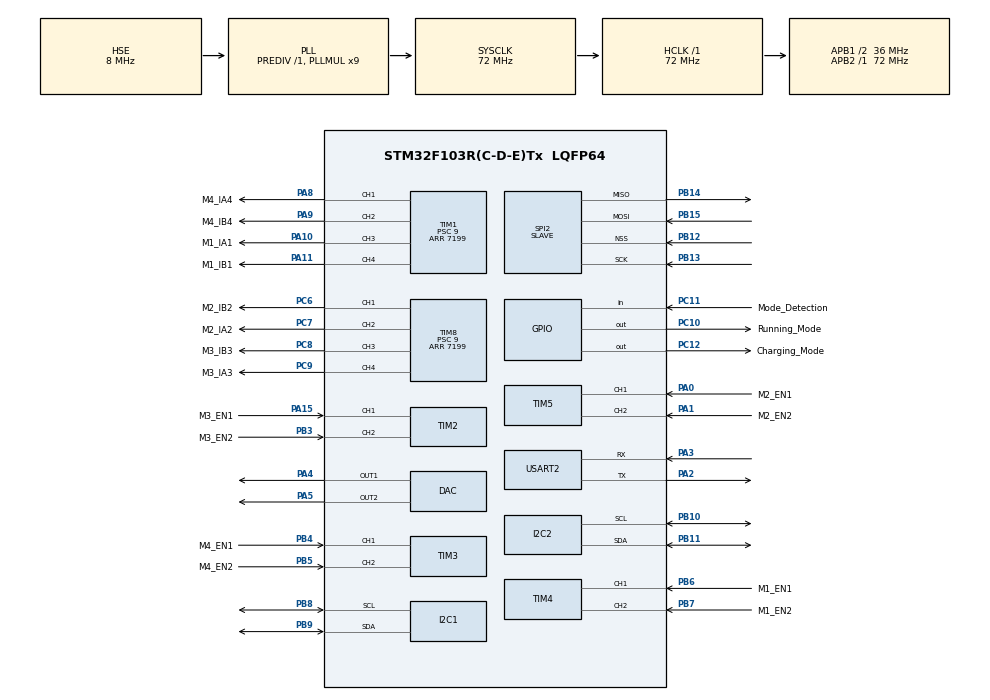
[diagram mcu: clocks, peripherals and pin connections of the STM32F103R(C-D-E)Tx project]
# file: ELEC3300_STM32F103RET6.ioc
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Dma.Request0=USART2_RX
Dma.Request1=USART2_TX
Dma.USART2_RX.0.Direction=DMA_PERIPH_TO_MEMORY
Dma.USART2_RX.0.Instance=DMA1_Channel6
Dma.USART2_RX.0.MemDataAlignment=DMA_MDATAALIGN_BYTE
Dma.USART2_RX.0.MemInc=DMA_MINC_ENABLE
Dma.USART2_RX.0.Mode=DMA_NORMAL
Dma.USART2_RX.0.PeriphDataAlignment=DMA_PDATAALIGN_BYTE
Dma.USART2_RX.0.PeriphInc=DMA_PINC_DISABLE
Dma.USART2_RX.0.Priority=DMA_PRIORITY_VERY_HIGH
Dma.USART2_TX.1.Direction=DMA_MEMORY_TO_PERIPH
Dma.USART2_TX.1.Instance=DMA1_Channel7
Dma.USART2_TX.1.MemDataAlignment=DMA_MDATAALIGN_BYTE
Dma.USART2_TX.1.MemInc=DMA_MINC_ENABLE
Dma.USART2_TX.1.Mode=DMA_NORMAL
Dma.USART2_TX.1.PeriphDataAlignment=DMA_PDATAALIGN_BYTE
Dma.USART2_TX.1.PeriphInc=DMA_PINC_DISABLE
Dma.USART2_TX.1.Priority=DMA_PRIORITY_VERY_HIGH
FREERTOS.Queues01=msg_rx_q,10,msg_data_t,0,Dynamic,NULL,NULL
FREERTOS.Tasks01=msg_rx_t,24,128,msg_rx,Default,NULL,Static,msg_rx_tBuffer,msg_rx_tControlBlock;Motor_update_t,24,128,Motor_update,Default,NULL,Dynamic,NULL,NULL
FREERTOS.configTOTAL_HEAP_SIZE=8000
FREERTOS.configUSE_NEWLIB_REENTRANT=1
I2C1.I2C_Mode=I2C_Fast
I2C2.I2C_Mode=I2C_Fast
Mcu.Family=STM32F1
Mcu.Name=STM32F103R(C-D-E)Tx
Mcu.Package=LQFP64
NVIC.DMA1_Channel6_IRQn=true\:5\:0\:false\:false\:true\:true\:false\:true\:true
NVIC.DMA1_Channel7_IRQn=true\:5\:0\:false\:false\:true\:true\:false\:true\:true
NVIC.PriorityGroup=NVIC_PRIORITYGROUP_4
NVIC.TIM6_IRQn=true\:15\:0\:false\:false\:true\:false\:false\:true\:true
NVIC.TimeBase=TIM6_IRQn
NVIC.TimeBaseIP=TIM6
NVIC.USART2_IRQn=true\:6\:0\:true\:false\:true\:true\:true\:true\:true
PA0-WKUP.GPIO_Label=M2_EN1
PA0-WKUP.GPIO_PuPd=GPIO_PULLUP
PA0-WKUP.Signal=S_TIM5_CH1
PA1.GPIO_Label=M2_EN2
PA1.GPIO_PuPd=GPIO_PULLUP
PA1.Signal=S_TIM5_CH2
PA10.GPIO_Label=M1_IA1
PA10.GPIO_Speed=GPIO_SPEED_FREQ_HIGH
PA10.Signal=S_TIM1_CH3
PA11.GPIO_Label=M1_IB1
PA11.GPIO_Speed=GPIO_SPEED_FREQ_HIGH
PA11.Signal=S_TIM1_CH4
PA13.Mode=Serial_Wire
PA13.Signal=SYS_JTMS-SWDIO
PA14.Mode=Serial_Wire
PA14.Signal=SYS_JTCK-SWCLK
PA15.GPIO_Label=M3_EN1
PA15.GPIO_PuPd=GPIO_PULLUP
PA15.Signal=S_TIM2_CH1_ETR
PA2.Mode=Asynchronous
PA2.Signal=USART2_TX
PA3.Mode=Asynchronous
PA3.Signal=USART2_RX
PA4.Signal=COMP_DAC1_group
PA5.Signal=COMP_DAC2_group
PA8.GPIO_Label=M4_IA4
PA8.GPIO_Speed=GPIO_SPEED_FREQ_HIGH
PA8.Signal=S_TIM1_CH1
PA9.GPIO_Label=M4_IB4
PA9.GPIO_Speed=GPIO_SPEED_FREQ_HIGH
PA9.Signal=S_TIM1_CH2
PB10.Mode=I2C
PB10.Signal=I2C2_SCL
PB11.Mode=I2C
PB11.Signal=I2C2_SDA
PB12.Mode=NSS_Signal_Hard_Input
PB12.Signal=SPI2_NSS
PB13.Mode=Full_Duplex_Slave
PB13.Signal=SPI2_SCK
PB14.Mode=Full_Duplex_Slave
PB14.Signal=SPI2_MISO
PB15.Mode=Full_Duplex_Slave
PB15.Signal=SPI2_MOSI
PB3.GPIO_Label=M3_EN2
PB3.GPIO_PuPd=GPIO_PULLUP
PB3.Signal=S_TIM2_CH2
PB4.GPIO_Label=M4_EN1
PB4.GPIO_PuPd=GPIO_PULLUP
PB4.Signal=S_TIM3_CH1
PB5.GPIO_Label=M4_EN2
PB5.GPIO_PuPd=GPIO_PULLUP
PB5.Signal=S_TIM3_CH2
PB6.GPIO_Label=M1_EN1
PB6.GPIO_PuPd=GPIO_PULLUP
PB6.Signal=S_TIM4_CH1
PB7.GPIO_Label=M1_EN2
PB7.GPIO_PuPd=GPIO_PULLUP
PB7.Signal=S_TIM4_CH2
PB8.Mode=I2C
PB8.Signal=I2C1_SCL
PB9.Mode=I2C
PB9.Signal=I2C1_SDA
PC10.GPIO_Label=Running_Mode
PC10.GPIO_ModeDefaultOutputPP=GPIO_MODE_OUTPUT_PP
PC10.GPIO_PuPd=GPIO_PULLDOWN
PC10.PinState=GPIO_PIN_RESET
PC10.Signal=GPIO_Output
PC11.GPIO_Label=Mode_Detection
PC11.Signal=GPIO_Input
PC12.GPIO_Label=Charging_Mode
PC12.GPIO_PuPd=GPIO_PULLUP
PC12.PinState=GPIO_PIN_SET
PC12.Signal=GPIO_Output
PC6.GPIO_Label=M2_IB2
PC6.GPIO_Speed=GPIO_SPEED_FREQ_HIGH
PC6.Signal=S_TIM8_CH1
PC7.GPIO_Label=M2_IA2
PC7.GPIO_Speed=GPIO_SPEED_FREQ_HIGH
PC7.Signal=S_TIM8_CH2
PC8.GPIO_Label=M3_IB3
PC8.GPIO_Speed=GPIO_SPEED_FREQ_HIGH
PC8.Signal=S_TIM8_CH3
PC9.GPIO_Label=M3_IA3
PC9.GPIO_Speed=GPIO_SPEED_FREQ_HIGH
PC9.Signal=S_TIM8_CH4
PD0-OSC_IN.Mode=HSE-External-Oscillator
PD0-OSC_IN.Signal=RCC_OSC_IN
PD1-OSC_OUT.Mode=HSE-External-Oscillator
PD1-OSC_OUT.Signal=RCC_OSC_OUT
ProjectManager.HeapSize=0xFFF
ProjectManager.StackSize=0xFFF
ProjectManager.TargetToolchain=STM32CubeIDE
RCC.AHBFreq_Value=72000000
RCC.APB1CLKDivider=RCC_HCLK_DIV2
RCC.APB1Freq_Value=36000000
RCC.APB1TimFreq_Value=72000000
RCC.APB2Freq_Value=72000000
RCC.APB2TimFreq_Value=72000000
RCC.HCLKFreq_Value=72000000
RCC.PLLMUL=RCC_PLL_MUL9
RCC.PLLSourceVirtual=RCC_PLLSOURCE_HSE
RCC.SYSCLKFreq_VALUE=72000000
RCC.SYSCLKSource=RCC_SYSCLKSOURCE_PLLCLK
RCC.USBFreq_Value=72000000
SH.COMP_DAC1_group.0=DAC_OUT1,DAC_OUT1
SH.COMP_DAC2_group.0=DAC_OUT2,DAC_OUT2
SH.S_TIM1_CH1.0=TIM1_CH1,PWM Generation1 CH1
SH.S_TIM1_CH2.0=TIM1_CH2,PWM Generation2 CH2
SH.S_TIM1_CH3.0=TIM1_CH3,PWM Generation3 CH3
SH.S_TIM1_CH4.0=TIM1_CH4,PWM Generation4 CH4
SH.S_TIM2_CH1_ETR.0=TIM2_CH1,Encoder_Interface
SH.S_TIM2_CH2.0=TIM2_CH2,Encoder_Interface
SH.S_TIM3_CH1.0=TIM3_CH1,Encoder_Interface
SH.S_TIM3_CH2.0=TIM3_CH2,Encoder_Interface
SH.S_TIM4_CH1.0=TIM4_CH1,Encoder_Interface
SH.S_TIM4_CH2.0=TIM4_CH2,Encoder_Interface
SH.S_TIM5_CH1.0=TIM5_CH1,Encoder_Interface
SH.S_TIM5_CH2.0=TIM5_CH2,Encoder_Interface
SH.S_TIM8_CH1.0=TIM8_CH1,PWM Generation1 CH1
SH.S_TIM8_CH2.0=TIM8_CH2,PWM Generation2 CH2
SH.S_TIM8_CH3.0=TIM8_CH3,PWM Generation3 CH3
SH.S_TIM8_CH4.0=TIM8_CH4,PWM Generation4 CH4
SPI2.Direction=SPI_DIRECTION_2LINES
SPI2.Mode=SPI_MODE_SLAVE
SPI2.VirtualNSS=VM_NSSHARD
SPI2.VirtualType=VM_SLAVE
TIM1.Channel-PWM\ Generation1\ CH1=TIM_CHANNEL_1
TIM1.Channel-PWM\ Generation2\ CH2=TIM_CHANNEL_2
TIM1.Channel-PWM\ Generation3\ CH3=TIM_CHANNEL_3
TIM1.Channel-PWM\ Generation4\ CH4=TIM_CHANNEL_4
TIM1.OCFastMode_PWM-PWM\ Generation1\ CH1=TIM_OCFAST_ENABLE
TIM1.OCFastMode_PWM-PWM\ Generation2\ CH2=TIM_OCFAST_ENABLE
TIM1.OCFastMode_PWM-PWM\ Generation3\ CH3=TIM_OCFAST_ENABLE
TIM1.OCFastMode_PWM-PWM\ Generation4\ CH4=TIM_OCFAST_ENABLE
TIM1.Period=7199
TIM1.Prescaler=9
TIM1.Pulse-PWM\ Generation1\ CH1=0
TIM1.Pulse-PWM\ Generation2\ CH2=0
TIM1.Pulse-PWM\ Generation3\ CH3=0
TIM1.Pulse-PWM\ Generation4\ CH4=0
TIM2.EncoderMode=TIM_ENCODERMODE_TI12
TIM3.EncoderMode=TIM_ENCODERMODE_TI12
TIM4.EncoderMode=TIM_ENCODERMODE_TI12
TIM5.EncoderMode=TIM_ENCODERMODE_TI12
TIM8.Channel-PWM\ Generation1\ CH1=TIM_CHANNEL_1
TIM8.Channel-PWM\ Generation2\ CH2=TIM_CHANNEL_2
TIM8.Channel-PWM\ Generation3\ CH3=TIM_CHANNEL_3
TIM8.Channel-PWM\ Generation4\ CH4=TIM_CHANNEL_4
TIM8.OCFastMode_PWM-PWM\ Generation1\ CH1=TIM_OCFAST_ENABLE
TIM8.OCFastMode_PWM-PWM\ Generation2\ CH2=TIM_OCFAST_ENABLE
TIM8.OCFastMode_PWM-PWM\ Generation3\ CH3=TIM_OCFAST_ENABLE
TIM8.OCFastMode_PWM-PWM\ Generation4\ CH4=TIM_OCFAST_ENABLE
TIM8.Period=7199
TIM8.Prescaler=9
USART2.VirtualMode=VM_ASYNC
VP_FREERTOS_VS_CMSIS_V2.Mode=CMSIS_V2
VP_SYS_VS_tim6.Mode=TIM6
VP_TIM1_VS_ClockSourceINT.Mode=Internal
VP_TIM8_VS_ClockSourceINT.Mode=Internal
board=custom

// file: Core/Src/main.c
/* USER CODE BEGIN Header */
/**
  ******************************************************************************
  * @file           : main.c
  * @brief          : Main program body
  ******************************************************************************
  * @attention
  *
  * Copyright (c) 2024 STMicroelectronics.
  * All rights reserved.
  *
  * This software is licensed under terms that can be found in the LICENSE file
  * in the root directory of this software component.
  * If no LICENSE file comes with this software, it is provided AS-IS.
  *
  ******************************************************************************
  */
/* USER CODE END Header */
#include "main.h"
#include "cmsis_os.h"

/* USER CODE BEGIN Includes */
#include <stdio.h>
#include <string.h>
#include <math.h>
#include "stm32f1xx_hal_flash.h"
//Gyro
#include "Gyro.h"
//Motor
#include "Motor.h"
//Encoder
#include "Encoder.h"

/* USER CODE END Includes */

DAC_HandleTypeDef hdac;

I2C_HandleTypeDef hi2c1;
I2C_HandleTypeDef hi2c2;

SPI_HandleTypeDef hspi2;

TIM_HandleTypeDef htim1;
TIM_HandleTypeDef htim2;
TIM_HandleTypeDef htim3;
TIM_HandleTypeDef htim4;
TIM_HandleTypeDef htim5;
TIM_HandleTypeDef htim8;

UART_HandleTypeDef huart2;
DMA_HandleTypeDef hdma_usart2_rx;
DMA_HandleTypeDef hdma_usart2_tx;

/* Definitions for msg_rx_t */
osThreadId_t msg_rx_tHandle;
const osThreadAttr_t msg_rx_t_attributes = {
  .name = "msg_rx_t",
  .stack_size = 512 * 4,
  .priority = (osPriority_t) osPriorityNormal,
};
/* Definitions for Motor_update_t */
osThreadId_t Motor_update_tHandle;
const osThreadAttr_t Motor_update_t_attributes = {
  .name = "Motor_update_t",
  .stack_size = 128 * 4,
  .priority = (osPriority_t) osPriorityNormal,
};
/* Definitions for msg_rx_q */
osMessageQueueId_t msg_rx_qHandle;
const osMessageQueueAttr_t msg_rx_q_attributes = {
  .name = "msg_rx_q"
};
/* USER CODE BEGIN PV */
//Car_ctr&setup_data
#define FLASH_PID_PARAMS_ADDRESS 0x0800ff00
#define RX_BUFFER_SIZE_1 256
uint8_t rxBuffer_1[RX_BUFFER_SIZE_1];
uint8_t rxIndex_1 = 0;
uint8_t rxData_1;
//#define RX_BUFFER_SIZE_2 64
//uint8_t rxBuffer_2[RX_BUFFER_SIZE_2];
//uint8_t rxIndex_2 = 0;
//uint8_t rxData_2;
typedef enum {
    DataType_Control,
    DataType_Weather,
    DataType_PID,
    DataType_Mode_Control,
    DataType_Unknown // Useful for error handling
} DataType;
typedef struct {
    DataType type;
    uint8_t msg_Data[RX_BUFFER_SIZE_1];
    int L; // Left wheel speed
    int R; // Right wheel speed
    int A; // Additional action or mode

    struct {
        float Balance_Kp, Balance_Ki, Balance_Kd; // Balance PID
        float Velocity_Kp, Velocity_Ki, Velocity_Kd; // Velocity PID
<<<<<<< HEAD
        float BalanceShift;
=======
        float Balance_Shift;
>>>>>>> 767b406b14e05d6fadf094114ea391546080ae84
    } PID;

    struct {
        char weather[32]; // Description of the weather
        int temperature; // Temperature
        char date[16]; // Date in YYYY-MM-DD format
        char time[16]; // Time HH:MM format
    } WeatherData;
} msg_data_t;
MotorControl motor_R, motor_L;
float Balance_Kp, Balance_Ki, Balance_Kd;
float Velocity_Kp, Velocity_Ki, Velocity_Kd;
<<<<<<< HEAD
float BalanceShift;
=======
float Balance_Shift;
>>>>>>> 767b406b14e05d6fadf094114ea391546080ae84
#define DEFAULT_BALANCE_KP 263.0f
#define DEFAULT_BALANCE_KI 0.0f
#define DEFAULT_BALANCE_KD 0.4f
#define DEFAULT_VELOCITY_KP 0.6f
#define DEFAULT_VELOCITY_KI 0.0025f
#define DEFAULT_VELOCITY_KD 0.0f
#define DEFAULT_DEFAULT_BAL_SHIFT -1.5f
uint8_t ctr_cmd;
/* USER CODE END PV */

void SystemClock_Config(void);
static void MX_GPIO_Init(void);
static void MX_DMA_Init(void);
static void MX_TIM1_Init(void);
static void MX_TIM2_Init(void);
static void MX_TIM3_Init(void);
static void MX_TIM4_Init(void);
static void MX_TIM8_Init(void);
static void MX_I2C2_Init(void);
static void MX_TIM5_Init(void);
static void MX_USART2_UART_Init(void);
static void MX_DAC_Init(void);
static void MX_I2C1_Init(void);
static void MX_SPI2_Init(void);
void msg_rx(void *argument);
void Motor_update(void *argument);

/* USER CODE BEGIN PFP */
int _write(int file , char *ptr,int len)
{
    int i = 0;
    for(i = 0;i<len;i++)
        ITM_SendChar((*ptr++));
    return len;
}
/* USER CODE END PFP */

/* USER CODE BEGIN 0 */
void Timer_Start(void)
{
// ***** CN2 CN4 *****
	HAL_TIM_PWM_Start(&htim1, TIM_CHANNEL_1);
	HAL_TIM_PWM_Start(&htim1, TIM_CHANNEL_2);
	HAL_TIM_PWM_Start(&htim8, TIM_CHANNEL_1);
	HAL_TIM_PWM_Start(&htim8, TIM_CHANNEL_2);
	HAL_TIM_Encoder_Start(&htim3, TIM_CHANNEL_1);
	HAL_TIM_Encoder_Start(&htim3, TIM_CHANNEL_2);
	HAL_TIM_Encoder_Start(&htim5, TIM_CHANNEL_1);
	HAL_TIM_Encoder_Start(&htim5, TIM_CHANNEL_2);

// ***** CN1 CN3 *****
//	  HAL_TIM_PWM_Start(&htim1, TIM_CHANNEL_3);
//	  HAL_TIM_PWM_Start(&htim1, TIM_CHANNEL_4);
//	  HAL_TIM_PWM_Start(&htim8, TIM_CHANNEL_3);
//	  HAL_TIM_PWM_Start(&htim8, TIM_CHANNEL_4);
//	  HAL_TIM_Encoder_Start(&htim2, TIM_CHANNEL_1);
//	  HAL_TIM_Encoder_Start(&htim2, TIM_CHANNEL_2);
//	  HAL_TIM_Encoder_Start(&htim4, TIM_CHANNEL_1);
//	  HAL_TIM_Encoder_Start(&htim4, TIM_CHANNEL_2);
}
int is_nan(float value) {
    // Check standard isnan
    if (isnan(value)) return 1;

    // Additional check for NaN representation using union
    union {
        float f;
        uint32_t u;
    } converter;

    converter.f = value;
    return (converter.u & 0x7fffffff) > 0x7f800000;
}
/* USER CODE END 0 */

int main(void)
{

  /* MCU Configuration--------------------------------------------------------*/

  /* Reset of all peripherals, Initializes the Flash interface and the Systick. */
  HAL_Init();

  /* Configure the system clock */
  SystemClock_Config();

  /* Initialize all configured peripherals */
  MX_GPIO_Init();
  MX_DMA_Init();
  MX_TIM1_Init();
  MX_TIM2_Init();
  MX_TIM3_Init();
  MX_TIM4_Init();
  MX_TIM8_Init();
  MX_I2C2_Init();
  MX_TIM5_Init();
  MX_USART2_UART_Init();
  MX_DAC_Init();
  MX_I2C1_Init();
  MX_SPI2_Init();
  /* USER CODE BEGIN 2 */
  BSP_MPU6050_Init();
  Timer_Start();
<<<<<<< HEAD
  ReadPIDParamsFromFlash(&Balance_Kp, &Balance_Ki, &Balance_Kd, &Velocity_Kp, &Velocity_Ki, &Velocity_Kd, &BalanceShift);
=======
  ReadPIDParamsFromFlash(&Balance_Kp, &Balance_Ki, &Balance_Kd, &Velocity_Kp, &Velocity_Ki, &Velocity_Kd, &Balance_Shift);
>>>>>>> 767b406b14e05d6fadf094114ea391546080ae84

// ***** CN2 CN4 *****
  initMotorControl(&motor_R, TIM_CHANNEL_1, TIM_CHANNEL_2, GetEncoder_Counter_R);
  initMotorControl(&motor_L, TIM_CHANNEL_1, TIM_CHANNEL_2, GetEncoder_Counter_L);

// ***** CN1 CN3 *****
//  initMotorControl(&motor_R, TIM_CHANNEL_3, TIM_CHANNEL_4, GetEncoder_Counter_R);
//  initMotorControl(&motor_L, TIM_CHANNEL_3, TIM_CHANNEL_4, GetEncoder_Counter_L);
  /* USER CODE END 2 */

  /* Init scheduler */
  osKernelInitialize();

  /* Create the queue(s) */
  /* creation of msg_rx_q */
  msg_rx_qHandle = osMessageQueueNew (10, sizeof(msg_data_t), &msg_rx_q_attributes);

  /* Create the thread(s) */
  /* creation of msg_rx_t */
  msg_rx_tHandle = osThreadNew(msg_rx, NULL, &msg_rx_t_attributes);

  /* creation of Motor_update_t */
  Motor_update_tHandle = osThreadNew(Motor_update, NULL, &Motor_update_t_attributes);

  /* Start scheduler */
  osKernelStart();

  /* We should never get here as control is now taken by the scheduler */

  /* Infinite loop */
  while (1)
  {

  }
}

void SystemClock_Config(void)
{
  RCC_OscInitTypeDef RCC_OscInitStruct = {0};
  RCC_ClkInitTypeDef RCC_ClkInitStruct = {0};

  /** Initializes the RCC Oscillators according to the specified parameters
  * in the RCC_OscInitTypeDef structure.
  */
  RCC_OscInitStruct.OscillatorType = RCC_OSCILLATORTYPE_HSE;
  RCC_OscInitStruct.HSEState = RCC_HSE_ON;
  RCC_OscInitStruct.HSEPredivValue = RCC_HSE_PREDIV_DIV1;
  RCC_OscInitStruct.HSIState = RCC_HSI_ON;
  RCC_OscInitStruct.PLL.PLLState = RCC_PLL_ON;
  RCC_OscInitStruct.PLL.PLLSource = RCC_PLLSOURCE_HSE;
  RCC_OscInitStruct.PLL.PLLMUL = RCC_PLL_MUL9;
  if (HAL_RCC_OscConfig(&RCC_OscInitStruct) != HAL_OK)
  {
    Error_Handler();
  }

  /** Initializes the CPU, AHB and APB buses clocks
  */
  RCC_ClkInitStruct.ClockType = RCC_CLOCKTYPE_HCLK|RCC_CLOCKTYPE_SYSCLK
                              |RCC_CLOCKTYPE_PCLK1|RCC_CLOCKTYPE_PCLK2;
  RCC_ClkInitStruct.SYSCLKSource = RCC_SYSCLKSOURCE_PLLCLK;
  RCC_ClkInitStruct.AHBCLKDivider = RCC_SYSCLK_DIV1;
  RCC_ClkInitStruct.APB1CLKDivider = RCC_HCLK_DIV2;
  RCC_ClkInitStruct.APB2CLKDivider = RCC_HCLK_DIV1;

  if (HAL_RCC_ClockConfig(&RCC_ClkInitStruct, FLASH_LATENCY_2) != HAL_OK)
  {
    Error_Handler();
  }
}

static void MX_DAC_Init(void)
{

  DAC_ChannelConfTypeDef sConfig = {0};

  /** DAC Initialization
  */
  hdac.Instance = DAC;
  if (HAL_DAC_Init(&hdac) != HAL_OK)
  {
    Error_Handler();
  }

  /** DAC channel OUT1 config
  */
  sConfig.DAC_Trigger = DAC_TRIGGER_NONE;
  sConfig.DAC_OutputBuffer = DAC_OUTPUTBUFFER_ENABLE;
  if (HAL_DAC_ConfigChannel(&hdac, &sConfig, DAC_CHANNEL_1) != HAL_OK)
  {
    Error_Handler();
  }

  /** DAC channel OUT2 config
  */
  if (HAL_DAC_ConfigChannel(&hdac, &sConfig, DAC_CHANNEL_2) != HAL_OK)
  {
    Error_Handler();
  }

}

static void MX_I2C1_Init(void)
{

  hi2c1.Instance = I2C1;
  hi2c1.Init.ClockSpeed = 400000;
  hi2c1.Init.DutyCycle = I2C_DUTYCYCLE_2;
  hi2c1.Init.OwnAddress1 = 0;
  hi2c1.Init.AddressingMode = I2C_ADDRESSINGMODE_7BIT;
  hi2c1.Init.DualAddressMode = I2C_DUALADDRESS_DISABLE;
  hi2c1.Init.OwnAddress2 = 0;
  hi2c1.Init.GeneralCallMode = I2C_GENERALCALL_DISABLE;
  hi2c1.Init.NoStretchMode = I2C_NOSTRETCH_DISABLE;
  if (HAL_I2C_Init(&hi2c1) != HAL_OK)
  {
    Error_Handler();
  }

}

static void MX_I2C2_Init(void)
{

  hi2c2.Instance = I2C2;
  hi2c2.Init.ClockSpeed = 400000;
  hi2c2.Init.DutyCycle = I2C_DUTYCYCLE_2;
  hi2c2.Init.OwnAddress1 = 0;
  hi2c2.Init.AddressingMode = I2C_ADDRESSINGMODE_7BIT;
  hi2c2.Init.DualAddressMode = I2C_DUALADDRESS_DISABLE;
  hi2c2.Init.OwnAddress2 = 0;
  hi2c2.Init.GeneralCallMode = I2C_GENERALCALL_DISABLE;
  hi2c2.Init.NoStretchMode = I2C_NOSTRETCH_DISABLE;
  if (HAL_I2C_Init(&hi2c2) != HAL_OK)
  {
    Error_Handler();
  }

}

static void MX_SPI2_Init(void)
{

  /* SPI2 parameter configuration*/
  hspi2.Instance = SPI2;
  hspi2.Init.Mode = SPI_MODE_SLAVE;
  hspi2.Init.Direction = SPI_DIRECTION_2LINES;
  hspi2.Init.DataSize = SPI_DATASIZE_8BIT;
  hspi2.Init.CLKPolarity = SPI_POLARITY_LOW;
  hspi2.Init.CLKPhase = SPI_PHASE_1EDGE;
  hspi2.Init.NSS = SPI_NSS_HARD_INPUT;
  hspi2.Init.FirstBit = SPI_FIRSTBIT_MSB;
  hspi2.Init.TIMode = SPI_TIMODE_DISABLE;
  hspi2.Init.CRCCalculation = SPI_CRCCALCULATION_DISABLE;
  hspi2.Init.CRCPolynomial = 10;
  if (HAL_SPI_Init(&hspi2) != HAL_OK)
  {
    Error_Handler();
  }

}

static void MX_TIM1_Init(void)
{

  TIM_ClockConfigTypeDef sClockSourceConfig = {0};
  TIM_MasterConfigTypeDef sMasterConfig = {0};
  TIM_OC_InitTypeDef sConfigOC = {0};
  TIM_BreakDeadTimeConfigTypeDef sBreakDeadTimeConfig = {0};

  htim1.Instance = TIM1;
  htim1.Init.Prescaler = 9;
  htim1.Init.CounterMode = TIM_COUNTERMODE_UP;
  htim1.Init.Period = 7199;
  htim1.Init.ClockDivision = TIM_CLOCKDIVISION_DIV1;
  htim1.Init.RepetitionCounter = 0;
  htim1.Init.AutoReloadPreload = TIM_AUTORELOAD_PRELOAD_DISABLE;
  if (HAL_TIM_Base_Init(&htim1) != HAL_OK)
  {
    Error_Handler();
  }
  sClockSourceConfig.ClockSource = TIM_CLOCKSOURCE_INTERNAL;
  if (HAL_TIM_ConfigClockSource(&htim1, &sClockSourceConfig) != HAL_OK)
  {
    Error_Handler();
  }
  if (HAL_TIM_PWM_Init(&htim1) != HAL_OK)
  {
    Error_Handler();
  }
  sMasterConfig.MasterOutputTrigger = TIM_TRGO_RESET;
  sMasterConfig.MasterSlaveMode = TIM_MASTERSLAVEMODE_DISABLE;
  if (HAL_TIMEx_MasterConfigSynchronization(&htim1, &sMasterConfig) != HAL_OK)
  {
    Error_Handler();
  }
  sConfigOC.OCMode = TIM_OCMODE_PWM1;
  sConfigOC.Pulse = 0;
  sConfigOC.OCPolarity = TIM_OCPOLARITY_HIGH;
  sConfigOC.OCNPolarity = TIM_OCNPOLARITY_HIGH;
  sConfigOC.OCFastMode = TIM_OCFAST_ENABLE;
  sConfigOC.OCIdleState = TIM_OCIDLESTATE_RESET;
  sConfigOC.OCNIdleState = TIM_OCNIDLESTATE_RESET;
  if (HAL_TIM_PWM_ConfigChannel(&htim1, &sConfigOC, TIM_CHANNEL_1) != HAL_OK)
  {
    Error_Handler();
  }
  if (HAL_TIM_PWM_ConfigChannel(&htim1, &sConfigOC, TIM_CHANNEL_2) != HAL_OK)
  {
    Error_Handler();
  }
  if (HAL_TIM_PWM_ConfigChannel(&htim1, &sConfigOC, TIM_CHANNEL_3) != HAL_OK)
  {
    Error_Handler();
  }
  if (HAL_TIM_PWM_ConfigChannel(&htim1, &sConfigOC, TIM_CHANNEL_4) != HAL_OK)
  {
    Error_Handler();
  }
  sBreakDeadTimeConfig.OffStateRunMode = TIM_OSSR_DISABLE;
  sBreakDeadTimeConfig.OffStateIDLEMode = TIM_OSSI_DISABLE;
  sBreakDeadTimeConfig.LockLevel = TIM_LOCKLEVEL_OFF;
  sBreakDeadTimeConfig.DeadTime = 0;
  sBreakDeadTimeConfig.BreakState = TIM_BREAK_DISABLE;
  sBreakDeadTimeConfig.BreakPolarity = TIM_BREAKPOLARITY_HIGH;
  sBreakDeadTimeConfig.AutomaticOutput = TIM_AUTOMATICOUTPUT_DISABLE;
  if (HAL_TIMEx_ConfigBreakDeadTime(&htim1, &sBreakDeadTimeConfig) != HAL_OK)
  {
    Error_Handler();
  }
  HAL_TIM_MspPostInit(&htim1);

}

static void MX_TIM2_Init(void)
{

  TIM_Encoder_InitTypeDef sConfig = {0};
  TIM_MasterConfigTypeDef sMasterConfig = {0};

  htim2.Instance = TIM2;
  htim2.Init.Prescaler = 0;
  htim2.Init.CounterMode = TIM_COUNTERMODE_UP;
  htim2.Init.Period = 65535;
  htim2.Init.ClockDivision = TIM_CLOCKDIVISION_DIV1;
  htim2.Init.AutoReloadPreload = TIM_AUTORELOAD_PRELOAD_DISABLE;
  sConfig.EncoderMode = TIM_ENCODERMODE_TI12;
  sConfig.IC1Polarity = TIM_ICPOLARITY_RISING;
  sConfig.IC1Selection = TIM_ICSELECTION_DIRECTTI;
  sConfig.IC1Prescaler = TIM_ICPSC_DIV1;
  sConfig.IC1Filter = 0;
  sConfig.IC2Polarity = TIM_ICPOLARITY_RISING;
  sConfig.IC2Selection = TIM_ICSELECTION_DIRECTTI;
  sConfig.IC2Prescaler = TIM_ICPSC_DIV1;
  sConfig.IC2Filter = 0;
  if (HAL_TIM_Encoder_Init(&htim2, &sConfig) != HAL_OK)
  {
    Error_Handler();
  }
  sMasterConfig.MasterOutputTrigger = TIM_TRGO_RESET;
  sMasterConfig.MasterSlaveMode = TIM_MASTERSLAVEMODE_DISABLE;
  if (HAL_TIMEx_MasterConfigSynchronization(&htim2, &sMasterConfig) != HAL_OK)
  {
    Error_Handler();
  }

}

static void MX_TIM3_Init(void)
{

  TIM_Encoder_InitTypeDef sConfig = {0};
  TIM_MasterConfigTypeDef sMasterConfig = {0};

  htim3.Instance = TIM3;
  htim3.Init.Prescaler = 0;
  htim3.Init.CounterMode = TIM_COUNTERMODE_UP;
  htim3.Init.Period = 65535;
  htim3.Init.ClockDivision = TIM_CLOCKDIVISION_DIV1;
  htim3.Init.AutoReloadPreload = TIM_AUTORELOAD_PRELOAD_DISABLE;
  sConfig.EncoderMode = TIM_ENCODERMODE_TI12;
  sConfig.IC1Polarity = TIM_ICPOLARITY_RISING;
  sConfig.IC1Selection = TIM_ICSELECTION_DIRECTTI;
  sConfig.IC1Prescaler = TIM_ICPSC_DIV1;
  sConfig.IC1Filter = 0;
  sConfig.IC2Polarity = TIM_ICPOLARITY_RISING;
  sConfig.IC2Selection = TIM_ICSELECTION_DIRECTTI;
  sConfig.IC2Prescaler = TIM_ICPSC_DIV1;
  sConfig.IC2Filter = 0;
  if (HAL_TIM_Encoder_Init(&htim3, &sConfig) != HAL_OK)
  {
    Error_Handler();
  }
  sMasterConfig.MasterOutputTrigger = TIM_TRGO_RESET;
  sMasterConfig.MasterSlaveMode = TIM_MASTERSLAVEMODE_DISABLE;
  if (HAL_TIMEx_MasterConfigSynchronization(&htim3, &sMasterConfig) != HAL_OK)
  {
    Error_Handler();
  }

}

static void MX_TIM4_Init(void)
{

  TIM_Encoder_InitTypeDef sConfig = {0};
  TIM_MasterConfigTypeDef sMasterConfig = {0};

  htim4.Instance = TIM4;
  htim4.Init.Prescaler = 0;
  htim4.Init.CounterMode = TIM_COUNTERMODE_UP;
  htim4.Init.Period = 65535;
  htim4.Init.ClockDivision = TIM_CLOCKDIVISION_DIV1;
  htim4.Init.AutoReloadPreload = TIM_AUTORELOAD_PRELOAD_DISABLE;
  sConfig.EncoderMode = TIM_ENCODERMODE_TI12;
  sConfig.IC1Polarity = TIM_ICPOLARITY_RISING;
  sConfig.IC1Selection = TIM_ICSELECTION_DIRECTTI;
  sConfig.IC1Prescaler = TIM_ICPSC_DIV1;
  sConfig.IC1Filter = 0;
  sConfig.IC2Polarity = TIM_ICPOLARITY_RISING;
  sConfig.IC2Selection = TIM_ICSELECTION_DIRECTTI;
  sConfig.IC2Prescaler = TIM_ICPSC_DIV1;
  sConfig.IC2Filter = 0;
  if (HAL_TIM_Encoder_Init(&htim4, &sConfig) != HAL_OK)
  {
    Error_Handler();
  }
  sMasterConfig.MasterOutputTrigger = TIM_TRGO_RESET;
  sMasterConfig.MasterSlaveMode = TIM_MASTERSLAVEMODE_DISABLE;
  if (HAL_TIMEx_MasterConfigSynchronization(&htim4, &sMasterConfig) != HAL_OK)
  {
    Error_Handler();
  }

}

static void MX_TIM5_Init(void)
{

  TIM_Encoder_InitTypeDef sConfig = {0};
  TIM_MasterConfigTypeDef sMasterConfig = {0};

  htim5.Instance = TIM5;
  htim5.Init.Prescaler = 0;
  htim5.Init.CounterMode = TIM_COUNTERMODE_UP;
  htim5.Init.Period = 65535;
  htim5.Init.ClockDivision = TIM_CLOCKDIVISION_DIV1;
  htim5.Init.AutoReloadPreload = TIM_AUTORELOAD_PRELOAD_DISABLE;
  sConfig.EncoderMode = TIM_ENCODERMODE_TI12;
  sConfig.IC1Polarity = TIM_ICPOLARITY_RISING;
  sConfig.IC1Selection = TIM_ICSELECTION_DIRECTTI;
  sConfig.IC1Prescaler = TIM_ICPSC_DIV1;
  sConfig.IC1Filter = 0;
  sConfig.IC2Polarity = TIM_ICPOLARITY_RISING;
  sConfig.IC2Selection = TIM_ICSELECTION_DIRECTTI;
  sConfig.IC2Prescaler = TIM_ICPSC_DIV1;
  sConfig.IC2Filter = 0;
  if (HAL_TIM_Encoder_Init(&htim5, &sConfig) != HAL_OK)
  {
    Error_Handler();
  }
  sMasterConfig.MasterOutputTrigger = TIM_TRGO_RESET;
  sMasterConfig.MasterSlaveMode = TIM_MASTERSLAVEMODE_DISABLE;
  if (HAL_TIMEx_MasterConfigSynchronization(&htim5, &sMasterConfig) != HAL_OK)
  {
    Error_Handler();
  }

}

static void MX_TIM8_Init(void)
{

  TIM_ClockConfigTypeDef sClockSourceConfig = {0};
  TIM_MasterConfigTypeDef sMasterConfig = {0};
  TIM_OC_InitTypeDef sConfigOC = {0};
  TIM_BreakDeadTimeConfigTypeDef sBreakDeadTimeConfig = {0};

  htim8.Instance = TIM8;
  htim8.Init.Prescaler = 9;
  htim8.Init.CounterMode = TIM_COUNTERMODE_UP;
  htim8.Init.Period = 7199;
  htim8.Init.ClockDivision = TIM_CLOCKDIVISION_DIV1;
  htim8.Init.RepetitionCounter = 0;
  htim8.Init.AutoReloadPreload = TIM_AUTORELOAD_PRELOAD_DISABLE;
  if (HAL_TIM_Base_Init(&htim8) != HAL_OK)
  {
    Error_Handler();
  }
  sClockSourceConfig.ClockSource = TIM_CLOCKSOURCE_INTERNAL;
  if (HAL_TIM_ConfigClockSource(&htim8, &sClockSourceConfig) != HAL_OK)
  {
    Error_Handler();
  }
  if (HAL_TIM_PWM_Init(&htim8) != HAL_OK)
  {
    Error_Handler();
  }
  sMasterConfig.MasterOutputTrigger = TIM_TRGO_RESET;
  sMasterConfig.MasterSlaveMode = TIM_MASTERSLAVEMODE_DISABLE;
  if (HAL_TIMEx_MasterConfigSynchronization(&htim8, &sMasterConfig) != HAL_OK)
  {
    Error_Handler();
  }
  sConfigOC.OCMode = TIM_OCMODE_PWM1;
  sConfigOC.Pulse = 0;
  sConfigOC.OCPolarity = TIM_OCPOLARITY_HIGH;
  sConfigOC.OCNPolarity = TIM_OCNPOLARITY_HIGH;
  sConfigOC.OCFastMode = TIM_OCFAST_ENABLE;
  sConfigOC.OCIdleState = TIM_OCIDLESTATE_RESET;
  sConfigOC.OCNIdleState = TIM_OCNIDLESTATE_RESET;
  if (HAL_TIM_PWM_ConfigChannel(&htim8, &sConfigOC, TIM_CHANNEL_1) != HAL_OK)
  {
    Error_Handler();
  }
  if (HAL_TIM_PWM_ConfigChannel(&htim8, &sConfigOC, TIM_CHANNEL_2) != HAL_OK)
  {
    Error_Handler();
  }
  if (HAL_TIM_PWM_ConfigChannel(&htim8, &sConfigOC, TIM_CHANNEL_3) != HAL_OK)
  {
    Error_Handler();
  }
  if (HAL_TIM_PWM_ConfigChannel(&htim8, &sConfigOC, TIM_CHANNEL_4) != HAL_OK)
  {
    Error_Handler();
  }
  sBreakDeadTimeConfig.OffStateRunMode = TIM_OSSR_DISABLE;
  sBreakDeadTimeConfig.OffStateIDLEMode = TIM_OSSI_DISABLE;
  sBreakDeadTimeConfig.LockLevel = TIM_LOCKLEVEL_OFF;
  sBreakDeadTimeConfig.DeadTime = 0;
  sBreakDeadTimeConfig.BreakState = TIM_BREAK_DISABLE;
  sBreakDeadTimeConfig.BreakPolarity = TIM_BREAKPOLARITY_HIGH;
  sBreakDeadTimeConfig.AutomaticOutput = TIM_AUTOMATICOUTPUT_DISABLE;
  if (HAL_TIMEx_ConfigBreakDeadTime(&htim8, &sBreakDeadTimeConfig) != HAL_OK)
  {
    Error_Handler();
  }
  HAL_TIM_MspPostInit(&htim8);

}

static void MX_USART2_UART_Init(void)
{

  huart2.Instance = USART2;
  huart2.Init.BaudRate = 115200;
  huart2.Init.WordLength = UART_WORDLENGTH_8B;
  huart2.Init.StopBits = UART_STOPBITS_1;
  huart2.Init.Parity = UART_PARITY_NONE;
  huart2.Init.Mode = UART_MODE_TX_RX;
  huart2.Init.HwFlowCtl = UART_HWCONTROL_NONE;
  huart2.Init.OverSampling = UART_OVERSAMPLING_16;
  if (HAL_UART_Init(&huart2) != HAL_OK)
  {
    Error_Handler();
  }
  /* USER CODE BEGIN USART2_Init 2 */
 __HAL_UART_ENABLE_IT(&huart2, UART_IT_IDLE);
HAL_UART_Receive_DMA(&huart2, rxBuffer_1, sizeof(rxBuffer_1));
  /* USER CODE END USART2_Init 2 */

}

static void MX_DMA_Init(void)
{

  /* DMA controller clock enable */
  __HAL_RCC_DMA1_CLK_ENABLE();

  /* DMA interrupt init */
  /* DMA1_Channel6_IRQn interrupt configuration */
  HAL_NVIC_SetPriority(DMA1_Channel6_IRQn, 5, 0);
  HAL_NVIC_EnableIRQ(DMA1_Channel6_IRQn);
  /* DMA1_Channel7_IRQn interrupt configuration */
  HAL_NVIC_SetPriority(DMA1_Channel7_IRQn, 5, 0);
  HAL_NVIC_EnableIRQ(DMA1_Channel7_IRQn);

}

static void MX_GPIO_Init(void)
{
  GPIO_InitTypeDef GPIO_InitStruct = {0};

  /* GPIO Ports Clock Enable */
  __HAL_RCC_GPIOD_CLK_ENABLE();
  __HAL_RCC_GPIOA_CLK_ENABLE();
  __HAL_RCC_GPIOB_CLK_ENABLE();
  __HAL_RCC_GPIOC_CLK_ENABLE();

  /*Configure GPIO pin Output Level */
  HAL_GPIO_WritePin(Running_Mode_GPIO_Port, Running_Mode_Pin, GPIO_PIN_RESET);

  /*Configure GPIO pin Output Level */
  HAL_GPIO_WritePin(Charging_Mode_GPIO_Port, Charging_Mode_Pin, GPIO_PIN_SET);

  /*Configure GPIO pin : Running_Mode_Pin */
  GPIO_InitStruct.Pin = Running_Mode_Pin;
  GPIO_InitStruct.Mode = GPIO_MODE_OUTPUT_PP;
  GPIO_InitStruct.Pull = GPIO_PULLDOWN;
  GPIO_InitStruct.Speed = GPIO_SPEED_FREQ_LOW;
  HAL_GPIO_Init(Running_Mode_GPIO_Port, &GPIO_InitStruct);

  /*Configure GPIO pin : Mode_Detection_Pin */
  GPIO_InitStruct.Pin = Mode_Detection_Pin;
  GPIO_InitStruct.Mode = GPIO_MODE_INPUT;
  GPIO_InitStruct.Pull = GPIO_NOPULL;
  HAL_GPIO_Init(Mode_Detection_GPIO_Port, &GPIO_InitStruct);

  /*Configure GPIO pin : Charging_Mode_Pin */
  GPIO_InitStruct.Pin = Charging_Mode_Pin;
  GPIO_InitStruct.Mode = GPIO_MODE_OUTPUT_PP;
  GPIO_InitStruct.Pull = GPIO_PULLUP;
  GPIO_InitStruct.Speed = GPIO_SPEED_FREQ_LOW;
  HAL_GPIO_Init(Charging_Mode_GPIO_Port, &GPIO_InitStruct);

}

/* USER CODE BEGIN 4 */
//Uart Callback

<<<<<<< HEAD
HAL_StatusTypeDef WritePIDParamsToFlash(float Balance_Kp, float Balance_Ki, float Balance_Kd, float Velocity_Kp, float Velocity_Ki, float Velocity_Kd, float BalanceShift) {
=======
HAL_StatusTypeDef WritePIDParamsToFlash(float Balance_Kp, float Balance_Ki, float Balance_Kd, float Velocity_Kp, float Velocity_Ki, float Velocity_Kd, float Balance_Shift) {
>>>>>>> 767b406b14e05d6fadf094114ea391546080ae84
    HAL_StatusTypeDef status;
    uint32_t data[7];
    uint32_t address = FLASH_PID_PARAMS_ADDRESS;

    memcpy(&data[0], &Balance_Kp, sizeof(float));
    memcpy(&data[1], &Balance_Ki, sizeof(float));
    memcpy(&data[2], &Balance_Kd, sizeof(float));
    memcpy(&data[3], &Velocity_Kp, sizeof(float));
    memcpy(&data[4], &Velocity_Ki, sizeof(float));
    memcpy(&data[5], &Velocity_Kd, sizeof(float));
<<<<<<< HEAD
    memcpy(&data[6], &BalanceShift, sizeof(float));
=======
    memcpy(&data[6], &Balance_Shift, sizeof(float));
>>>>>>> 767b406b14e05d6fadf094114ea391546080ae84

    //FLASH_Unlock
    HAL_FLASH_Unlock();

    FLASH_EraseInitTypeDef eraseInitStruct;
    uint32_t SectorError;
    eraseInitStruct.TypeErase = FLASH_TYPEERASE_PAGES;
    eraseInitStruct.PageAddress = FLASH_PID_PARAMS_ADDRESS;
    eraseInitStruct.NbPages = 1;
    status = HAL_FLASHEx_Erase(&eraseInitStruct, &SectorError);
    if (status != HAL_OK) {
        HAL_FLASH_Lock();
        return status;
    }

    /* Write the PID parameters to flash, word by word (32 bits) */
    for (uint32_t i = 0; i < (sizeof(data) / sizeof(uint32_t)); i++) {
        status = HAL_FLASH_Program(FLASH_TYPEPROGRAM_WORD, address, data[i]);
        if (status != HAL_OK) {
            break;
        }
        address += 4;
    }
    //FLASH_Lock
    HAL_FLASH_Lock();

    return status;
}

<<<<<<< HEAD
void ReadPIDParamsFromFlash(float *Balance_Kp, float *Balance_Ki, float *Balance_Kd, float *Velocity_Kp, float *Velocity_Ki, float *Velocity_Kd, float *BalanceShift) {
=======
void ReadPIDParamsFromFlash(float *Balance_Kp, float *Balance_Ki, float *Balance_Kd, float *Velocity_Kp, float *Velocity_Ki, float *Velocity_Kd, float *Balance_Shift) {
>>>>>>> 767b406b14e05d6fadf094114ea391546080ae84
    memcpy(Balance_Kp, (float*)FLASH_PID_PARAMS_ADDRESS, sizeof(float));
    memcpy(Balance_Ki, (float*)(FLASH_PID_PARAMS_ADDRESS + 4), sizeof(float));
    memcpy(Balance_Kd, (float*)(FLASH_PID_PARAMS_ADDRESS + 8), sizeof(float));
    memcpy(Velocity_Kp, (float*)(FLASH_PID_PARAMS_ADDRESS + 12), sizeof(float));
    memcpy(Velocity_Ki, (float*)(FLASH_PID_PARAMS_ADDRESS + 16), sizeof(float));
    memcpy(Velocity_Kd, (float*)(FLASH_PID_PARAMS_ADDRESS + 20), sizeof(float));
<<<<<<< HEAD
    memcpy(BalanceShift, (float*)(FLASH_PID_PARAMS_ADDRESS + 24), sizeof(float));
=======
    memcpy(Balance_Shift, (float*)(FLASH_PID_PARAMS_ADDRESS + 24), sizeof(float));
>>>>>>> 767b406b14e05d6fadf094114ea391546080ae84

    // Check for NaN values and set to default if necessary
    if (is_nan(*Balance_Kp)) *Balance_Kp = DEFAULT_BALANCE_KP;
    if (is_nan(*Balance_Ki)) *Balance_Ki = DEFAULT_BALANCE_KI;
    if (is_nan(*Balance_Kd)) *Balance_Kd = DEFAULT_BALANCE_KD;
    if (is_nan(*Velocity_Kp)) *Velocity_Kp = DEFAULT_VELOCITY_KP;
    if (is_nan(*Velocity_Ki)) *Velocity_Ki = DEFAULT_VELOCITY_KI;
    if (is_nan(*Velocity_Kd)) *Velocity_Kd = DEFAULT_VELOCITY_KD;
<<<<<<< HEAD
    if (is_nan(*BalanceShift)) *BalanceShift = DEFAULT_DEFAULT_BAL_SHIFT;
=======
    if (is_nan(*Balance_Shift)) *Balance_Shift = DEFAULT_DEFAULT_BAL_SHIFT;
>>>>>>> 767b406b14e05d6fadf094114ea391546080ae84
}

void UART_IRQHandler_IDLE(UART_HandleTypeDef *huart)
{
	msg_data_t ctr;
	if(huart == &huart2)
	{
		if(__HAL_UART_GET_FLAG(huart, UART_FLAG_IDLE) != RESET)
		{
			HAL_UART_DMAStop(&huart2);
			__HAL_UART_CLEAR_IDLEFLAG(&huart2);
			__HAL_UART_CLEAR_OREFLAG(&huart2);
			memcpy(ctr.msg_Data ,rxBuffer_1, sizeof(rxBuffer_1));
			osStatus_t status = osMessageQueuePut(msg_rx_qHandle, &ctr, 0, 0);
			if (status != osOK) {printf("Failed to put message into queue\n");}
			HAL_UART_Receive_DMA(&huart2, rxBuffer_1, sizeof(rxBuffer_1));
		}
	}
}

/* USER CODE END 4 */

void msg_rx(void *argument)
{
  /* USER CODE BEGIN 5 */
	msg_data_t ctr;
	char type[32];
	for(;;) {
		if (osMessageQueueGet(msg_rx_qHandle, &ctr, NULL, osWaitForever) == osOK) {
			printf("%s\n",ctr.msg_Data);
			if (sscanf((char*)ctr.msg_Data, "{\"Type\":\"%[^\"]\"", type) == 1) {
				if (strcmp(type, "Control") == 0) {
					if (sscanf((char*)ctr.msg_Data, "{\"Type\":\"Control\",\"L\":%d,\"R\":%d,\"A\":%d}",
							   &ctr.L, &ctr.R, &ctr.A) == 3) {
						motor_R.targetSpeed = ctr.R;
						motor_L.targetSpeed = ctr.L;
						ctr_cmd = ctr.A;
						ctr.type = DataType_Control;
					}
				}
				else if (strcmp(type, "Weather") == 0) {
					if (sscanf((char*)ctr.msg_Data, "{\"Type\":\"Weather\",\"Weather\":\"%[^\"]\",\"Temperature\":%d,\"Date\":\"%[^\"]\",\"Time\":\"%[^\"]\"}",
							   ctr.WeatherData.weather,
							   &ctr.WeatherData.temperature,
							   ctr.WeatherData.date,
							   ctr.WeatherData.time) == 4) {
						printf("Weather: %s, Temp: %d, Date: %s, Time: %s\n",
							   ctr.WeatherData.weather,
							   ctr.WeatherData.temperature,
							   ctr.WeatherData.date,
							   ctr.WeatherData.time);
						ctr.type = DataType_Weather;
					}
				} else if (strcmp(type, "PID") == 0) {
<<<<<<< HEAD
					if (sscanf((char*)ctr.msg_Data, "{\"Type\":\"PID\",\"Balance_Kp\":%f,\"Balance_Ki\":%f,\"Balance_Kd\":%f,\"Velocity_Kp\":%f,\"Velocity_Ki\":%f,\"Velocity_Kd\":%f,\"BalanceShift\":%f}",
=======
					if (sscanf((char*)ctr.msg_Data, "{\"Type\":\"PID\",\"Balance_Kp\":%f,\"Balance_Ki\":%f,\"Balance_Kd\":%f,"
							"\"Velocity_Kp\":%f,\"Velocity_Ki\":%f,\"Velocity_Kd\":%f,\"Balance_Shift\":%f}",
>>>>>>> 767b406b14e05d6fadf094114ea391546080ae84
							   &ctr.PID.Balance_Kp,
							   &ctr.PID.Balance_Ki,
							   &ctr.PID.Balance_Kd,
							   &ctr.PID.Velocity_Kp,
							   &ctr.PID.Velocity_Ki,
							   &ctr.PID.Velocity_Kd,
<<<<<<< HEAD
							   &ctr.PID.BalanceShift) == 7) {
=======
							   &ctr.PID.Balance_Shift) == 7) {
>>>>>>> 767b406b14e05d6fadf094114ea391546080ae84
						Balance_Kp = ctr.PID.Balance_Kp;
						Balance_Ki = ctr.PID.Balance_Ki;
						Balance_Kd = ctr.PID.Balance_Kd;
						Velocity_Kp = ctr.PID.Velocity_Kp;
						Velocity_Ki = ctr.PID.Velocity_Ki;
						Velocity_Kd = ctr.PID.Velocity_Kd;
<<<<<<< HEAD
						BalanceShift = ctr.PID.BalanceShift;
						ctr.type = DataType_PID;
						if (WritePIDParamsToFlash(Balance_Kp, Balance_Ki, Balance_Kd, Velocity_Kp, Velocity_Ki, Velocity_Kd, BalanceShift) != HAL_OK) {
=======
						Balance_Shift = ctr.PID.Balance_Shift;
						ctr.type = DataType_PID;
						if (WritePIDParamsToFlash(Balance_Kp, Balance_Ki, Balance_Kd, Velocity_Kp, Velocity_Ki, Velocity_Kd, Balance_Shift) != HAL_OK) {
>>>>>>> 767b406b14e05d6fadf094114ea391546080ae84
							printf("PID_store_to_flash_failed\n");
						}
					}
				}
				else if (strcmp(type, "Mode_Control") == 0) {
					printf("Mode control switch\n");
					ctr.type = DataType_Mode_Control;
				} else {
					printf("Unknown message type\n");
					ctr.type = DataType_Unknown;
				}
			}
		}
		osDelay(5);
	}
  /* USER CODE END 5 */
}

void Motor_update(void *argument)
{
  /* USER CODE BEGIN Motor_update */
	  int count = 1;

	  /* Infinite loop */
	  for(;;)
	  {
		  read_angle(&motor_R, &motor_L);
		  if (count % 10 == 0) {
			Velocity_PID_Control(&motor_R, &motor_L);
		  }

		  Balance_PID_Control(&motor_R, &motor_L);

		  if (HAL_GPIO_ReadPin(GPIOC, Mode_Detection_Pin) == GPIO_PIN_RESET) {
			UpdateMotorPWM(&motor_R, &motor_L);
		  }

		  osDelay(5);
		  count = (count ) % 10 == 0 ? 1: count+1;
	  }
  /* USER CODE END Motor_update */
}

void HAL_TIM_PeriodElapsedCallback(TIM_HandleTypeDef *htim)
{
  if (htim->Instance == TIM6) {
    HAL_IncTick();
  }
}

void Error_Handler(void)
{
  __disable_irq();
  while (1)
  {
  }
}
